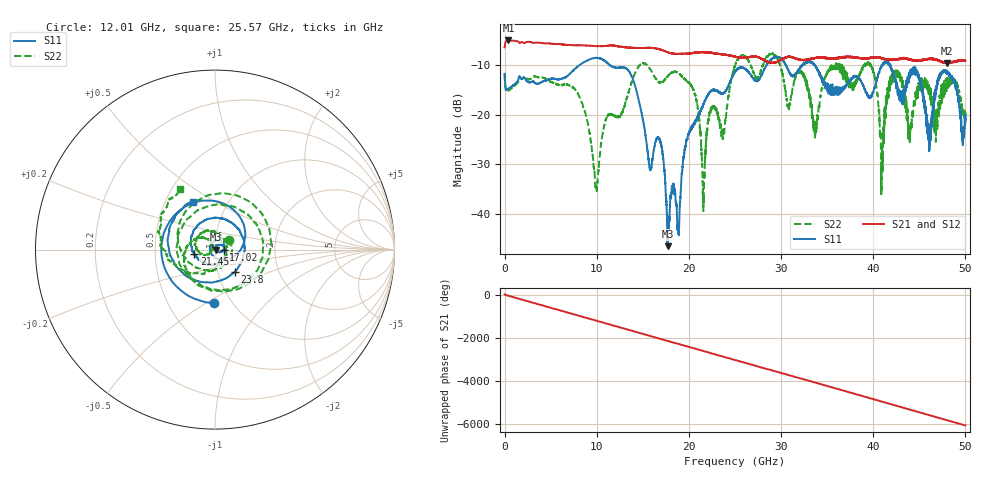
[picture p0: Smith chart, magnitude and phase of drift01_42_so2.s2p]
!Created with skrf (http://scikit-rf.org).
# Hz S RI R 50.0
!freq ReS11 ImS11 ReS21 ImS21 ReS12 ImS12 ReS22 ImS22
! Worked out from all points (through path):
!   10001 points, 300 kHz to 50 GHz, reference 50 ohm
!   highest |S21| = -5.06 dB at 410.3 MHz (marker M1); lowest = -9.6 dB at 48.01 GHz (marker M2)
!   group delay of S21, straight-line fit = 336 ps
!   lowest |S11| = -46.5 dB at 17.7 GHz (marker M3), VSWR 1.01, Z = 50.5 - j0.0818 ohm
!   |S11| at or under -10 dB: start of sweep to 8.154 GHz; 11.42 GHz to 28.43 GHz (17.02 GHz wide, 85.4 % of centre); 41.8 GHz to end of sweep (the widest 3 of 15)
!   |S22| runs from -39.5 to -7.6 dB; largest |S21 - S12| = 0.014
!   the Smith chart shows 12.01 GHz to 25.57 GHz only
!   S11 on the Smith chart (normalised r, x): 12.01 GHz: 0.83, -0.54; 17.02 GHz: 1.10, -0.00; 21.45 GHz: 0.79, -0.04; 23.8 GHz: 1.21, -0.31; 25.57 GHz: 0.68, +0.40
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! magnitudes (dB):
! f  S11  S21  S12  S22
! 300 kHz  -11.8  -6.5  -6.5  -11.7
! 410.3 MHz  -14.8  -5.1  -5.1  -15.2
! 8.335 GHz  -9.8  -6.0  -6.0  -17.5
! 9.935 GHz  -8.6  -6.2  -6.2  -34.5
! 12.01 GHz  -10.5  -6.1  -6.1  -20.4
! 15.78 GHz  -31.1  -6.6  -6.5  -10.8
! 16.67 GHz  -24.6  -6.8  -6.8  -13.4
! 17.02 GHz  -26.4  -6.9  -6.9  -13.6
! 17.7 GHz  -46.5  -7.4  -7.4  -12.3
! 20.5 GHz  -22.1  -7.6  -7.6  -15.1
! 21.45 GHz  -18.6  -7.4  -7.4  -30.3
! 22.46 GHz  -15.2  -7.6  -7.6  -18.8
! 23.8 GHz  -15.6  -7.9  -7.9  -23.4
! 25 GHz  -11.4  -8.3  -8.4  -10.3
! 25.57 GHz  -10.6  -8.5  -8.5  -8.2
! 33.34 GHz  -9.5  -8.8  -8.7  -19.6
! 39.51 GHz  -16.6  -8.7  -8.6  -10.0
! 40.94 GHz  -9.9  -8.6  -8.7  -29.5
! 41.67 GHz  -9.8  -8.9  -9.0  -15.6
! 46.1 GHz  -27.2  -8.8  -8.8  -15.3
! 48.01 GHz  -11.4  -9.6  -9.5  -13.8
! 50 GHz  -21.4  -9.2  -9.2  -20.0
